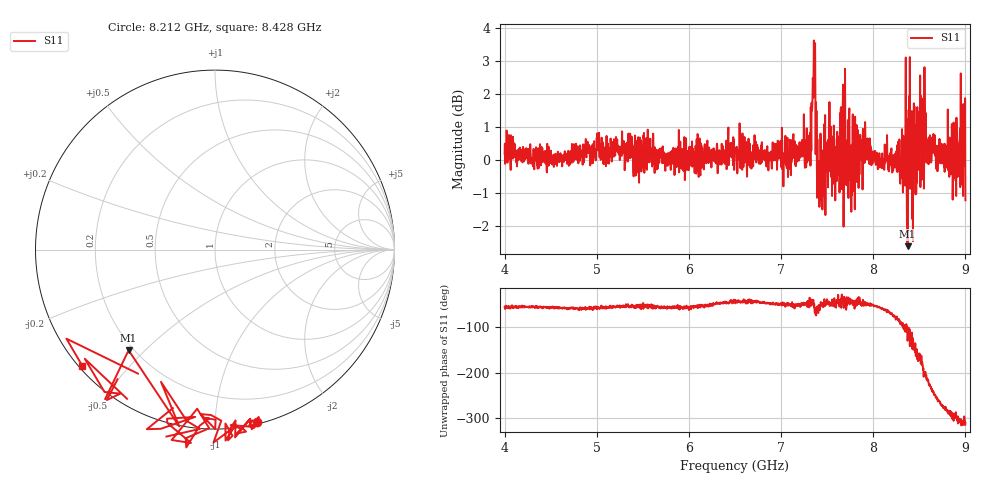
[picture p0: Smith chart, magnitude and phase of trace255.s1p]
! Created with skrf 1.8.0 (http://scikit-rf.org).
# Hz S RI R 50.0
!freq ReS11 ImS11
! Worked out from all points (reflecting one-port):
!   1601 points, 4 GHz to 9 GHz, reference 50 ohm
!   lowest |S11| = -2.6 dB at 8.372 GHz (marker M1), VSWR 6.67, Z = 9.04 - j22.3 ohm
!   phase of S11 starts at -57 deg and turns -252 deg over the sweep
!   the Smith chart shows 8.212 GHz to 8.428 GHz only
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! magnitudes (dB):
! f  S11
! 4 GHz  0.2
! 4.625 GHz  -0.2
! 5.25 GHz  0.0
! 5.875 GHz  0.0
! 6.5 GHz  0.2
! 7.125 GHz  0.3
! 7.294 GHz  0.0
! 7.325 GHz  0.9
! 7.347 GHz  2.3
! 7.369 GHz  3.6
! 7.4 GHz  -0.9
! 7.425 GHz  -0.8
! 7.519 GHz  1.1
! 7.612 GHz  0.0
! 7.672 GHz  2.3
! 7.703 GHz  -0.8
! 7.75 GHz  0.1
! 7.775 GHz  0.8
! 7.912 GHz  1.2
! 8.312 GHz  0.9
! 8.372 GHz  -2.6
! 8.375 GHz  0.3
! 8.425 GHz  -0.3
! 8.519 GHz  1.9
! 8.603 GHz  0.7
! 8.856 GHz  0.3
! 8.972 GHz  0.9
! 9 GHz  -1.2
